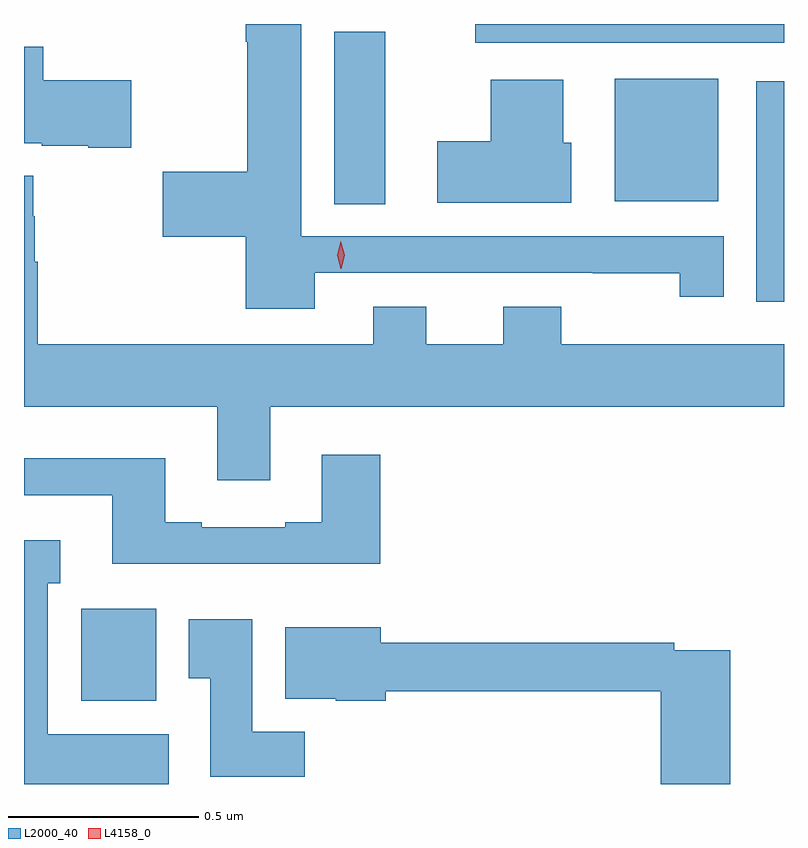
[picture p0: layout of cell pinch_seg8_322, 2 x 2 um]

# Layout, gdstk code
import gdstk
lib = gdstk.Library(unit=1e-6, precision=1e-09)
def R(c, l, rs):  # rectangles x0, y0, x1, y1
    for r in rs: c.add(gdstk.rectangle(r[:2], r[2:], *l))
def P(c, l, *ps):  # polygons
    for p in ps: c.add(gdstk.Polygon(p, *l))
L2000_40 = (2000, 40)
L4158_0 = (4158, 0)

pinch_seg8_322 = lib.new_cell('pinch_seg8_322')
R(pinch_seg8_322, L2000_40, [(592.49,1131.71,592.687,1131.952), (594.266,1132.76,594.339,1133.341), (593.156,1133.017,593.29,1133.47), (593.894,1133.024,594.166,1133.347), (593.526,1133.442,594.339,1133.491)])
P(pinch_seg8_322, L2000_40, [(593.104,1132.836),(593.836,1132.836),(593.836,1132.835),(594.064,1132.835),(594.064,1132.773),(594.181,1132.773),(594.181,1132.932),(593.068,1132.932),(593.068,1133.491),(592.922,1133.491),(592.922,1133.444),(592.927,1133.444),(592.927,1133.102),(592.704,1133.102),(592.704,1132.931),(592.922,1132.931),(592.922,1132.742),(593.104,1132.742)],
  [(592.621,1133.343),(592.39,1133.343),(592.39,1133.431),(592.339,1133.431),(592.339,1133.177),(592.386,1133.177),(592.386,1133.17),(592.508,1133.17),(592.508,1133.165),(592.621,1133.165)],
  [(593.779,1133.178),(593.758,1133.178),(593.758,1133.344),(593.567,1133.344),(593.567,1133.182),(593.427,1133.182),(593.427,1133.021),(593.779,1133.021)],
  [(592.987,1132.484),(594.339,1132.484),(594.339,1132.648),(593.753,1132.648),(593.753,1132.747),(593.6,1132.747),(593.6,1132.648),(593.398,1132.648),(593.398,1132.747),(593.258,1132.747),(593.258,1132.648),(592.375,1132.648),(592.375,1132.865),(592.367,1132.865),(592.367,1132.985),(592.363,1132.985),(592.363,1133.092),(592.339,1133.092),(592.339,1132.484),(592.847,1132.484),(592.847,1132.29),(592.987,1132.29)],
  [(593.276,1132.357),(593.123,1132.357),(593.123,1132.18),(593.027,1132.18),(593.027,1132.167),(592.807,1132.167),(592.807,1132.18),(592.711,1132.18),(592.711,1132.348),(592.339,1132.348),(592.339,1132.251),(592.571,1132.251),(592.571,1132.07),(593.276,1132.07)],
  [(592.72,1131.622),(592.402,1131.622),(592.402,1132.019),(592.435,1132.019),(592.435,1132.132),(592.339,1132.132),(592.339,1131.491),(592.72,1131.491)],
  [(593.078,1131.628),(592.939,1131.628),(592.939,1131.925),(592.772,1131.925),(592.772,1131.769),(592.829,1131.769),(592.829,1131.51),(593.078,1131.51)],
  [(594.197,1131.843),(594.05,1131.843),(594.05,1131.863),(593.278,1131.863),(593.278,1131.904),(593.027,1131.904),(593.027,1131.716),(593.16,1131.716),(593.16,1131.71),(593.291,1131.71),(593.291,1131.735),(594.014,1131.735),(594.014,1131.491),(594.197,1131.491)])
P(pinch_seg8_322, L4158_0, [(593.173,1132.847),(593.173,1132.847),(593.163,1132.883),(593.172,1132.919),(593.172,1132.919),(593.172,1132.919),(593.183,1132.883),(593.174,1132.847)])

lib.write_gds('pinch_seg8_322.gds')
